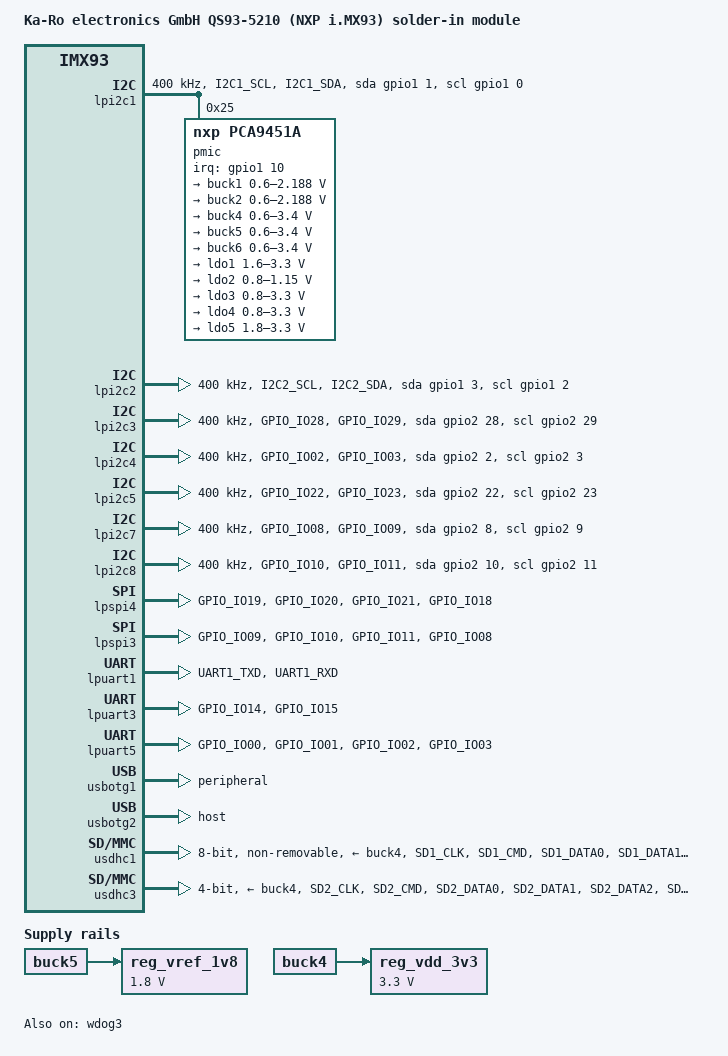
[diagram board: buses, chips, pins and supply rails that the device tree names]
// SPDX-License-Identifier: (GPL-2.0+ OR MIT)
/*
 * Copyright 2023 Lothar Waßmann <LW@KARO-electronics.de>
 */

/dts-v1/;

#include "imx93-karo.dtsi"

/{
	model = "Ka-Ro electronics GmbH QS93-5210 (NXP i.MX93) solder-in module";
	compatible = "karo-qs93", "fsl,imx93";

	aliases {
		ethernet0 = &eqos;
		ethernet1 = &fec;
		i2c0 = &lpi2c1;
		i2c1 = &lpi2c2;
		i2c2 = &lpi2c3;
		i2c3 = &lpi2c5;
		i2c4 = &lpi2c4;
		i2c5 = &lpi2c7;
		i2c6 = &lpi2c8;
		i2c7 = &lpi2c6;
		mmc0 = &usdhc1;
		mmc1 = &usdhc3;
		mmc2 = &usdhc2;
		serial1 = &lpuart3;
		serial2 = &lpuart5;
		serial3 = &lpuart4;
		serial4 = &lpuart2;
		spi0 = &lpspi4;
		spi1 = &lpspi3;
		spi2 = &lpspi1;
		spi3 = &lpspi6;
		spi4 = &lpspi5;
		spi5 = &lpspi2;
		usb-host = &usbotg2;
		usbotg = &usbotg1;
	};

	reg_vref_1v8: regulator-adc-vref {
		compatible = "regulator-fixed";
		regulator-name = "vref_1v8";
		regulator-min-microvolt = <1800000>;
		regulator-max-microvolt = <1800000>;
		vin-supply = <&buck5>;
	};

	reg_vdd_3v3: regulator-3v3 {
		compatible = "regulator-fixed";
		regulator-name = "vdd_3v3";
		regulator-min-microvolt = <3300000>;
		regulator-max-microvolt = <3300000>;
		vin-supply = <&buck4>;
	};
};

&eqos {
	phy-supply = <&buck4>;
	status = "disabled";

	mdio {
		compatible = "snps,dwmac-mdio";
		#address-cells = <1>;
		#size-cells = <0>;
	};
};

&fec {
	phy-supply = <&buck4>;
	status = "disabled";

	mdio {
		#address-cells = <1>;
		#size-cells = <0>;
	};
};

&lpi2c1 {
	clock-frequency = <400000>;
	pinctrl-names = "default", "gpio";
	pinctrl-0 = <&pinctrl_lpi2c1>;
	pinctrl-1 = <&pinctrl_lpi2c1_gpio>;
	scl-gpios = <&gpio1 0 (GPIO_ACTIVE_HIGH | GPIO_OPEN_DRAIN)>;
	sda-gpios = <&gpio1 1 (GPIO_ACTIVE_HIGH | GPIO_OPEN_DRAIN)>;
	status = "okay";

	pmic: pmic@25 {
		compatible = "nxp,pca9451a";
		reg = <0x25>;
		pinctrl-names = "default";
		pinctrl-0 = <&pinctrl_pmic_int>;
		interrupt-parent = <&gpio1>;
		interrupts = <10 IRQ_TYPE_LEVEL_LOW>;

		regulators {
			buck1: BUCK1 {
				regulator-name = "BUCK1";
				regulator-min-microvolt = <600000>;
				regulator-max-microvolt = <2187500>;
				regulator-boot-on;
				regulator-always-on;
				regulator-ramp-delay = <3125>;
			};

			buck2: BUCK2 {
				regulator-name = "BUCK2";
				regulator-min-microvolt = <600000>;
				regulator-max-microvolt = <2187500>;
				regulator-boot-on;
				regulator-always-on;
				regulator-ramp-delay = <3125>;
			};

			buck4: BUCK4 {
				regulator-name = "BUCK4";
				regulator-min-microvolt = <600000>;
				regulator-max-microvolt = <3400000>;
				regulator-boot-on;
				regulator-always-on;
			};

			buck5: BUCK5 {
				regulator-name = "BUCK5";
				regulator-min-microvolt = <600000>;
				regulator-max-microvolt = <3400000>;
				regulator-boot-on;
				regulator-always-on;
			};

			buck6: BUCK6 {
				regulator-name = "BUCK6";
				regulator-min-microvolt = <600000>;
				regulator-max-microvolt = <3400000>;
				regulator-boot-on;
				regulator-always-on;
			};

			ldo1: LDO1 {
				regulator-name = "LDO1";
				regulator-min-microvolt = <1600000>;
				regulator-max-microvolt = <3300000>;
				regulator-boot-on;
				regulator-always-on;
			};

			ldo2: LDO2 {
				regulator-name = "LDO2";
				regulator-min-microvolt = <800000>;
				regulator-max-microvolt = <1150000>;
				regulator-boot-on;
				regulator-always-on;
			};

			ldo3: LDO3 {
				regulator-name = "LDO3";
				regulator-min-microvolt = <800000>;
				regulator-max-microvolt = <3300000>;
				regulator-boot-on;
				regulator-always-on;
			};

			ldo4: LDO4 {
				regulator-name = "LDO4";
				regulator-min-microvolt = <800000>;
				regulator-max-microvolt = <3300000>;
				regulator-boot-on;
				regulator-always-on;
			};

			ldo5: LDO5 {
				regulator-name = "LDO5";
				regulator-min-microvolt = <1800000>;
				regulator-max-microvolt = <3300000>;
				regulator-boot-on;
				regulator-always-on;
			};
		};
	};
};

&lpi2c2 {
	clock-frequency = <400000>;
	pinctrl-names = "default", "gpio";
	pinctrl-0 = <&pinctrl_lpi2c2>;
	pinctrl-1 = <&pinctrl_lpi2c2_gpio>;
	scl-gpios = <&gpio1 2 (GPIO_ACTIVE_HIGH | GPIO_OPEN_DRAIN)>;
	sda-gpios = <&gpio1 3 (GPIO_ACTIVE_HIGH | GPIO_OPEN_DRAIN)>;
	status = "okay";
};

&lpi2c3 {
	clock-frequency = <400000>;
	pinctrl-names = "default", "gpio";
	pinctrl-0 = <&pinctrl_lpi2c3>;
	pinctrl-1 = <&pinctrl_lpi2c3_gpio>;
	scl-gpios = <&gpio2 29 (GPIO_ACTIVE_HIGH | GPIO_OPEN_DRAIN)>;
	sda-gpios = <&gpio2 28 (GPIO_ACTIVE_HIGH | GPIO_OPEN_DRAIN)>;
	status = "okay";
};

&lpi2c4 {
	clock-frequency = <400000>;
	pinctrl-names = "default", "gpio";
	pinctrl-0 = <&pinctrl_lpi2c4>;
	pinctrl-1 = <&pinctrl_lpi2c4_gpio>;
	scl-gpios = <&gpio2 3 (GPIO_ACTIVE_HIGH | GPIO_OPEN_DRAIN)>;
	sda-gpios = <&gpio2 2 (GPIO_ACTIVE_HIGH | GPIO_OPEN_DRAIN)>;
};

&lpi2c5 {
	clock-frequency = <400000>;
	pinctrl-names = "default", "gpio";
	pinctrl-0 = <&pinctrl_lpi2c5>;
	pinctrl-1 = <&pinctrl_lpi2c5_gpio>;
	scl-gpios = <&gpio2 23 (GPIO_ACTIVE_HIGH | GPIO_OPEN_DRAIN)>;
	sda-gpios = <&gpio2 22 (GPIO_ACTIVE_HIGH | GPIO_OPEN_DRAIN)>;
};

&lpi2c7 {
	clock-frequency = <400000>;
	pinctrl-names = "default", "gpio";
	pinctrl-0 = <&pinctrl_lpi2c7>;
	pinctrl-1 = <&pinctrl_lpi2c7_gpio>;
	scl-gpios = <&gpio2 9 (GPIO_ACTIVE_HIGH | GPIO_OPEN_DRAIN)>;
	sda-gpios = <&gpio2 8 (GPIO_ACTIVE_HIGH | GPIO_OPEN_DRAIN)>;
};

&lpi2c8 {
	clock-frequency = <400000>;
	pinctrl-names = "default", "gpio";
	pinctrl-0 = <&pinctrl_lpi2c8>;
	pinctrl-1 = <&pinctrl_lpi2c8_gpio>;
	scl-gpios = <&gpio2 11 (GPIO_ACTIVE_HIGH | GPIO_OPEN_DRAIN)>;
	sda-gpios = <&gpio2 10 (GPIO_ACTIVE_HIGH | GPIO_OPEN_DRAIN)>;
};

&lpspi4 {
	pinctrl-names = "default";
	pinctrl-0 = <&pinctrl_lpspi4 &pinctrl_lpspi4_cs>;
	cs-gpios = <&gpio2 18 GPIO_ACTIVE_LOW>;
	spi-max-frequency = <25000000>;
};

&lpspi3 {
	pinctrl-names = "default";
	pinctrl-0 = <&pinctrl_lpspi3 &pinctrl_lpspi3_cs>;
	cs-gpios = <&gpio2 8 GPIO_ACTIVE_LOW>;
	spi-max-frequency = <25000000>;
};

&lpuart1 { /* console */
	pinctrl-names = "default";
	pinctrl-0 = <&pinctrl_uart1>;
	status = "okay";
};

&lpuart3 {
	pinctrl-names = "default";
	pinctrl-0 = <&pinctrl_uart3>;
	status = "okay";
};

&lpuart5 {
	pinctrl-names = "default";
	pinctrl-0 = <&pinctrl_uart5 &pinctrl_uart5_rtscts>;
	uart-has-rtscts;
	status = "okay";
};

&usbotg1 {
	/* May be modified by U-Boot according to 'otg_mode' variable */
	dr_mode = "peripheral";
	hnp-disable;
	srp-disable;
	adp-disable;
	disable-over-current;
	samsung,picophy-pre-emp-curr-control = <3>;
	samsung,picophy-dc-vol-level-adjust = <7>;
	status = "okay";
};

&usbotg2 {
	dr_mode = "host";
	hnp-disable;
	srp-disable;
	adp-disable;
	disable-over-current;
	samsung,picophy-pre-emp-curr-control = <3>;
	samsung,picophy-dc-vol-level-adjust = <7>;
	status = "okay";
};

&usdhc1 { /* eMMC */
	pinctrl-names = "default";
	pinctrl-0 = <&pinctrl_usdhc1>;
	vmmc-supply = <&buck4>;
	vqmmc-supply = <&buck4>;
	bus-width = <8>;
	no-1-8-v;
	non-removable;
	status = "okay";
};

&usdhc3 {
	pinctrl-names = "default";
	pinctrl-0 = <&pinctrl_usdhc3>;
	vmmc-supply = <&buck4>;
	vqmmc-supply = <&buck4>;
	bus-width = <4>;
	no-1-8-v;
	no-sdio;
	no-mmc;
};

&wdog3 {
	status = "okay";
};

&iomuxc {
	pinctrl-names = "default";
	status = "okay";

	pinctrl_flexspi: flexspigrp {
		fsl,pins = <
			MX93_PAD_SD3_CMD__FLEXSPI1_A_SS0_B			0x3fe
			MX93_PAD_SD1_DATA3__FLEXSPI1_A_SS1_B			0x3fe
			MX93_PAD_SD3_CLK__FLEXSPI1_A_SCLK			0x3fe
			MX93_PAD_SD1_STROBE__FLEXSPI1_A_DQS			0x3fe
			MX93_PAD_SD3_DATA0__FLEXSPI1_A_DATA00			0x3fe
			MX93_PAD_SD3_DATA1__FLEXSPI1_A_DATA01			0x3fe
			MX93_PAD_SD3_DATA2__FLEXSPI1_A_DATA02			0x3fe
			MX93_PAD_SD3_DATA3__FLEXSPI1_A_DATA03			0x3fe
			MX93_PAD_SD1_DATA4__FLEXSPI1_A_DATA04			0x3fe
			MX93_PAD_SD1_DATA5__FLEXSPI1_A_DATA05			0x3fe
			MX93_PAD_SD1_DATA6__FLEXSPI1_A_DATA06			0x3fe
			MX93_PAD_SD1_DATA7__FLEXSPI1_A_DATA07			0x3fe
		>;
	};

	pinctrl_lpi2c1: lpi2c1grp {
		fsl,pins = <
			MX93_PAD_I2C1_SCL__LPI2C1_SCL				0x40001a1e
			MX93_PAD_I2C1_SDA__LPI2C1_SDA				0x40001a1e
		>;
	};

	pinctrl_lpi2c1_gpio: lpi2c1-gpiogrp {
		fsl,pins = <
			MX93_PAD_I2C1_SCL__GPIO1_IO00				0x40001a1e
			MX93_PAD_I2C1_SDA__GPIO1_IO01				0x40001a1e
		>;
	};

	pinctrl_lpi2c2: lpi2c2grp {
		fsl,pins = <
			MX93_PAD_I2C2_SCL__LPI2C2_SCL				0x40001a1e
			MX93_PAD_I2C2_SDA__LPI2C2_SDA				0x40001a1e
		>;
	};

	pinctrl_lpi2c2_gpio: lpi2c2-gpiogrp {
		fsl,pins = <
			MX93_PAD_I2C2_SCL__GPIO1_IO02				0x40001a1e
			MX93_PAD_I2C2_SDA__GPIO1_IO03				0x40001a1e
		>;
	};

	pinctrl_lpi2c3: lpi2c3grp {
		fsl,pins = <
			MX93_PAD_GPIO_IO28__LPI2C3_SDA				0x40001a1e
			MX93_PAD_GPIO_IO29__LPI2C3_SCL				0x40001a1e
		>;
	};

	pinctrl_lpi2c3_gpio: lpi2c3-gpiogrp {
		fsl,pins = <
			MX93_PAD_GPIO_IO28__GPIO2_IO28				0x40001a1e
			MX93_PAD_GPIO_IO29__GPIO2_IO29				0x40001a1e
		>;
	};

	pinctrl_lpi2c4: lpi2c4grp {
		fsl,pins = <
			MX93_PAD_GPIO_IO02__LPI2C4_SDA				0x40001a1e
			MX93_PAD_GPIO_IO03__LPI2C4_SCL				0x40001a1e
		>;
	};

	pinctrl_lpi2c4_gpio: lpi2c4-gpiogrp {
		fsl,pins = <
			MX93_PAD_GPIO_IO02__GPIO2_IO02				0x40001a1e
			MX93_PAD_GPIO_IO03__GPIO2_IO03				0x40001a1e
		>;
	};

	pinctrl_lpi2c5: lpi2c5grp {
		fsl,pins = <
			MX93_PAD_GPIO_IO22__LPI2C5_SDA				0x40001a1e
			MX93_PAD_GPIO_IO23__LPI2C5_SCL				0x40001a1e
		>;
	};

	pinctrl_lpi2c5_gpio: lpi2c5-gpiogrp {
		fsl,pins = <
			MX93_PAD_GPIO_IO22__GPIO2_IO22				0x40001a1e
			MX93_PAD_GPIO_IO23__GPIO2_IO23				0x40001a1e
		>;
	};

	pinctrl_lpi2c7: lpi2c7grp {
		fsl,pins = <
			MX93_PAD_GPIO_IO08__LPI2C7_SDA				0x40001a1e
			MX93_PAD_GPIO_IO09__LPI2C7_SCL				0x40001a1e
		>;
	};

	pinctrl_lpi2c7_gpio: lpi2c7-gpiogrp {
		fsl,pins = <
			MX93_PAD_GPIO_IO08__GPIO2_IO08				0x40001a1e
			MX93_PAD_GPIO_IO09__GPIO2_IO09				0x40001a1e
		>;
	};

	pinctrl_lpi2c8: lpi2c8grp {
		fsl,pins = <
			MX93_PAD_GPIO_IO10__LPI2C8_SDA				0x40001a1e
			MX93_PAD_GPIO_IO11__LPI2C8_SCL				0x40001a1e
		>;
	};

	pinctrl_lpi2c8_gpio: lpi2c8-gpiogrp {
		fsl,pins = <
			MX93_PAD_GPIO_IO10__GPIO2_IO10				0x40001a1e
			MX93_PAD_GPIO_IO11__GPIO2_IO11				0x40001a1e
		>;
	};

	pinctrl_lpspi3: lpspi3-grp {
		fsl,pins = <
			MX93_PAD_GPIO_IO09__LPSPI3_SIN				0x131e
			MX93_PAD_GPIO_IO10__LPSPI3_SOUT				0x011e
			MX93_PAD_GPIO_IO11__LPSPI3_SCK				0x011e
		>;
	};

	pinctrl_lpspi3_cs: lpspi3-csgrp {
		fsl,pins = <
			MX93_PAD_GPIO_IO08__GPIO2_IO08				0x4000021e
		>;
	};

	pinctrl_lpspi4: lpspi4-grp {
		fsl,pins = <
			MX93_PAD_GPIO_IO19__LPSPI4_SIN				0x131e
			MX93_PAD_GPIO_IO20__LPSPI4_SOUT				0x011e
			MX93_PAD_GPIO_IO21__LPSPI4_SCK				0x011e
		>;
	};

	pinctrl_lpspi4_cs: lpspi4-csgrp {
		fsl,pins = <
			MX93_PAD_GPIO_IO18__GPIO2_IO18				0x4000021e
		>;
	};

	pinctrl_pmic_int: pmic-intgrp {
		fsl,pins = <
			MX93_PAD_PDM_BIT_STREAM1__GPIO1_IO10			0x000
		>;
	};

	pinctrl_uart1: uart1grp {
		fsl,pins = <
			MX93_PAD_UART1_TXD__LPUART1_TX				0x01e
			MX93_PAD_UART1_RXD__LPUART1_RX				0x400
		>;
	};

	pinctrl_uart3: uart3grp {
		fsl,pins = <
			MX93_PAD_GPIO_IO14__LPUART3_TX				0x01e
			MX93_PAD_GPIO_IO15__LPUART3_RX				0x400
		>;
	};

	pinctrl_uart5: uart5grp {
		fsl,pins = <
			MX93_PAD_GPIO_IO00__LPUART5_TX				0x01e
			MX93_PAD_GPIO_IO01__LPUART5_RX				0x400
		>;
	};

	pinctrl_uart5_rtscts: uart5-rtsctsgrp {
		fsl,pins = <
			MX93_PAD_GPIO_IO02__LPUART5_CTS_B			0x01e
			MX93_PAD_GPIO_IO03__LPUART5_RTS_B			0x400
		>;
	};

	pinctrl_usdhc1: usdhc1grp {
		fsl,pins = <
			MX93_PAD_SD1_CLK__USDHC1_CLK				0x09e
			MX93_PAD_SD1_CMD__USDHC1_CMD				0x29e
			MX93_PAD_SD1_DATA0__USDHC1_DATA0			0x29e
			MX93_PAD_SD1_DATA1__USDHC1_DATA1			0x29e
			MX93_PAD_SD1_DATA2__USDHC1_DATA2			0x29e
			MX93_PAD_SD1_DATA3__USDHC1_DATA3			0x29e
			MX93_PAD_SD1_DATA4__USDHC1_DATA4			0x29e
			MX93_PAD_SD1_DATA5__USDHC1_DATA5			0x29e
			MX93_PAD_SD1_DATA6__USDHC1_DATA6			0x29e
			MX93_PAD_SD1_DATA7__USDHC1_DATA7			0x29e
		>;
	};

	pinctrl_usdhc3: usdhc3grp {
		fsl,pins = <
			MX93_PAD_SD2_CLK__USDHC2_CLK				0x01fe
			MX93_PAD_SD2_CMD__USDHC2_CMD				0x3fe
			MX93_PAD_SD2_DATA0__USDHC2_DATA0			0x3fe
			MX93_PAD_SD2_DATA1__USDHC2_DATA1			0x3fe
			MX93_PAD_SD2_DATA2__USDHC2_DATA2			0x3fe
			MX93_PAD_SD2_DATA3__USDHC2_DATA3			0x3fe
		>;
	};

	pinctrl_usdhc3_cd: usdhc3-cdgrp {
		fsl,pins = <
			MX93_PAD_SD2_DATA3__GPIO3_IO06				0x200
		>;
	};
};
